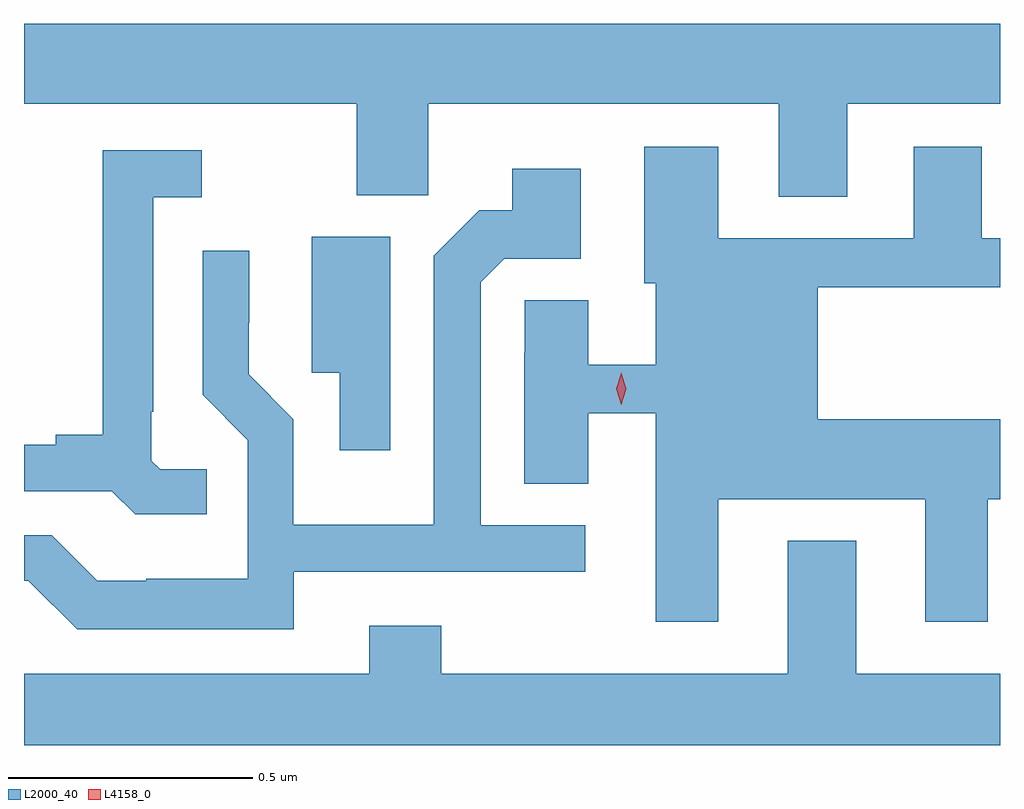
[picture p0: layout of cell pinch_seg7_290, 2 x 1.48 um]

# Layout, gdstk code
import gdstk
lib = gdstk.Library(unit=1e-6, precision=1e-09)
def P(c, l, *ps):  # polygons
    for p in ps: c.add(gdstk.Polygon(p, *l))
L2000_40 = (2000, 40)
L4158_0 = (4158, 0)

pinch_seg7_290 = lib.new_cell('pinch_seg7_290')
P(pinch_seg7_290, L2000_40, [(627.331,1043.24),(627.644,1043.24),(627.644,1043.404),(625.644,1043.404),(625.644,1043.24),(626.326,1043.24),(626.326,1043.053),(626.472,1043.053),(626.472,1043.24),(627.191,1043.24),(627.191,1043.05),(627.331,1043.05)],
  [(627.067,1042.43),(627.491,1042.43),(627.491,1042.179),(627.619,1042.179),(627.619,1042.43),(627.644,1042.43),(627.644,1042.594),(627.271,1042.594),(627.271,1042.864),(627.644,1042.864),(627.644,1042.965),(627.607,1042.965),(627.607,1043.152),(627.467,1043.152),(627.467,1042.965),(627.067,1042.965),(627.067,1043.152),(626.915,1043.152),(626.915,1042.872),(626.939,1042.872),(626.939,1042.705),(626.8,1042.705),(626.8,1042.838),(626.67,1042.838),(626.67,1042.73),(626.669,1042.73),(626.669,1042.462),(626.8,1042.462),(626.8,1042.606),(626.939,1042.606),(626.939,1042.179),(627.067,1042.179)],
  [(626.018,1042.491),(625.923,1042.491),(625.905,1042.509),(625.905,1042.609),(625.909,1042.609),(625.909,1043.049),(626.008,1043.049),(626.008,1043.145),(625.805,1043.145),(625.805,1042.562),(625.709,1042.562),(625.709,1042.542),(625.644,1042.542),(625.644,1042.446),(625.824,1042.446),(625.872,1042.399),(626.018,1042.399)],
  [(626.197,1042.281),(626.794,1042.281),(626.794,1042.377),(626.58,1042.377),(626.58,1042.875),(626.628,1042.923),(626.785,1042.923),(626.785,1043.107),(626.645,1043.107),(626.645,1043.022),(626.577,1043.022),(626.484,1042.929),(626.484,1042.378),(626.196,1042.378),(626.196,1042.594),(626.105,1042.686),(626.105,1042.792),(626.106,1042.792),(626.106,1042.939),(626.01,1042.939),(626.01,1042.644),(626.103,1042.551),(626.103,1042.267),(625.894,1042.267),(625.894,1042.263),(625.794,1042.263),(625.701,1042.356),(625.644,1042.356),(625.644,1042.263),(625.653,1042.263),(625.753,1042.163),(626.197,1042.163)],
  [(626.395,1042.968),(626.234,1042.968),(626.234,1042.689),(626.291,1042.689),(626.291,1042.53),(626.395,1042.53)],
  [(627.644,1042.072),(627.349,1042.072),(627.349,1042.345),(627.209,1042.345),(627.209,1042.072),(626.499,1042.072),(626.499,1042.171),(626.351,1042.171),(626.351,1042.072),(625.644,1042.072),(625.644,1041.926),(627.644,1041.926)])
P(pinch_seg7_290, L4158_0, [(626.868,1042.623),(626.868,1042.623),(626.858,1042.656),(626.868,1042.688),(626.868,1042.689),(626.868,1042.688),(626.878,1042.656),(626.868,1042.623)])

lib.write_gds('pinch_seg7_290.gds')
